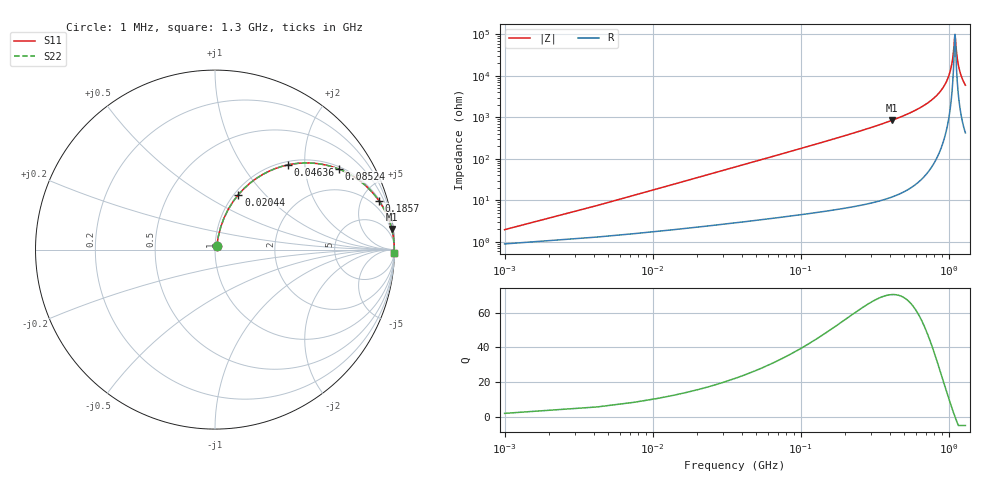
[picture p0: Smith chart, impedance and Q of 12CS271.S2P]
! Coilcraft 1206CS-271 Chip Inductor
! 29 July 2002
# MHZ S MA R 50
!Freq  MagS11  AngS11  MagS21  AngS21  MagS12  AngS12  MagS22  AngS22
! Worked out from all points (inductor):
!   402 points, 1 MHz to 1.3 GHz, reference 50 ohm
!   read as one part in series: L = 280 nH near 7.48 MHz
!   highest Q = 70.4 at 415.7 MHz (marker M1), where L = 326 nH
!   self-resonance near 1.103 GHz
!   S11 on the Smith chart (normalised r, x): 1 MHz: 1.02, +0.04; 20.44 MHz: 1.05, +0.72; 46.36 MHz: 1.06, +1.63; 85.24 MHz: 1.08, +3.02; 185.7 MHz: 1.12, +6.72; 1.3 GHz: open
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1  0.01956 62.0  0.991 -1.0  0.991 -1.0  0.01956 62.0
10.72  0.183 74.1  0.9659 -10.5  0.9659 -10.5  0.183 74.1
20.44  0.3324 67.0  0.9223 -19.4  0.9223 -19.4  0.3324 67.0
46.36  0.6212 49.4  0.7597 -38.4  0.7597 -38.4  0.6212 49.4
85.24  0.8231 33.0  0.5454 -55.4  0.5454 -55.4  0.8231 33.0
127.36  0.9078 23.6  0.3997 -65.2  0.3997 -65.2  0.9078 23.6
185.68  0.9537 16.5  0.2837 -72.5  0.2837 -72.5  0.9537 16.5
218.08  0.9661 14.0  0.242 -75.0  0.242 -75.0  0.9661 14.0
415.72  0.9915 6.7  0.1164 -82.5  0.1164 -82.5  0.9915 6.7
435.16  0.9924 6.3  0.1095 -82.9  0.1095 -82.9  0.9924 6.3
652.24  0.9974 3.2  0.05668 -85.7  0.05668 -85.7  0.9974 3.2
869.32  0.9988 1.4  0.02495 -86.5  0.02495 -86.5  0.9988 1.4
953.56  0.999 0.9  0.01529 -85.7  0.01529 -85.7  0.999 0.9
1015.12  0.999 0.5  0.008842 -83.3  0.008842 -83.3  0.999 0.5
1057.24  0.999 0.3  0.004709 -77.8  0.004709 -77.8  0.999 0.3
1086.4  0.999 0.1  0.002066 -61.2  0.002066 -61.2  0.999 0.1
1099.36  0.999 0.0  0.001165 -30.6  0.001165 -30.6  0.999 0.0
1109.08  0.999 -0.0  0.001056 17.1  0.001056 17.1  0.999 -0.0
1138.24  0.999 -0.2  0.003149 70.7  0.003149 70.7  0.999 -0.2
1173.88  0.9989 -0.4  0.006235 79.9  0.006235 79.9  0.9989 -0.4
1228.96  0.9988 -0.6  0.01092 83.5  0.01092 83.5  0.9988 -0.6
1300  0.9987 -1.0  0.01673 85.0  0.01673 85.0  0.9987 -1.0
